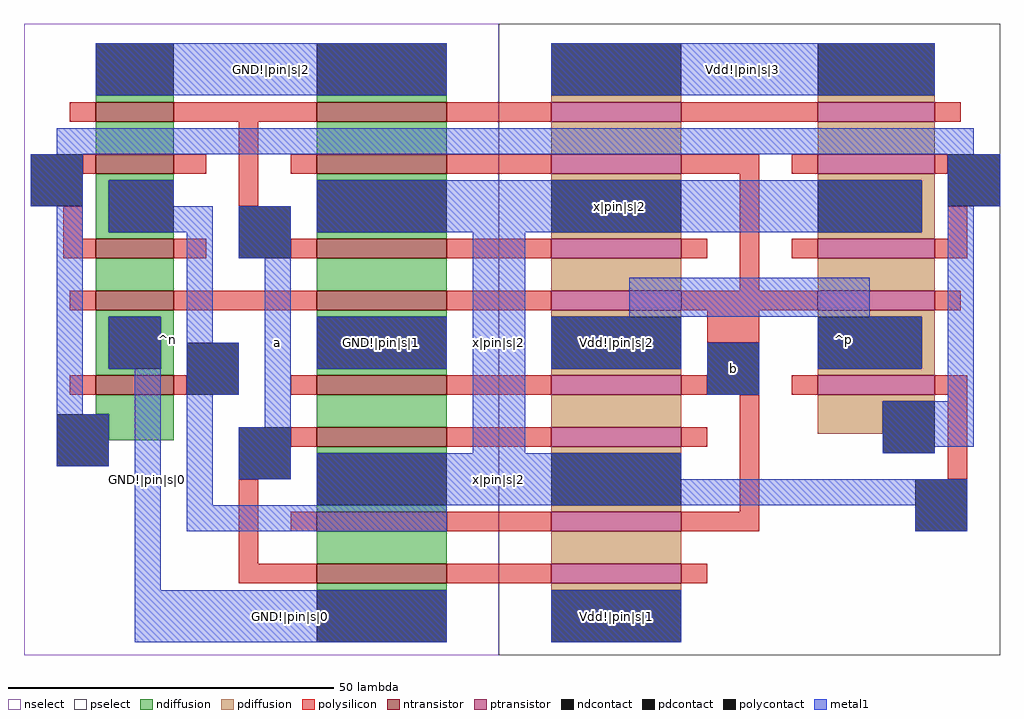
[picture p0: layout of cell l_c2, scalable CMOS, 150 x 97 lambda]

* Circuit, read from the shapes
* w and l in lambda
.subckt l_c2 GND!|pin|s|0 GND!|pin|s|1 GND!|pin|s|2 Vdd!|pin|s|1 Vdd!|pin|s|2 Vdd!|pin|s|3 a b x|pin|s|2
M1 GND!|pin|s|0 x|pin|s|2 n1 VSUBS nfet w=12 l=3
M2 n2 b GND!|pin|s|0 VSUBS nfet w=12 l=3
M3 x|pin|s|2 n1 n2 VSUBS nfet w=12 l=3
M4 n3 n1 x|pin|s|2 VSUBS nfet w=12 l=3
M5 GND!|pin|s|2 a n3 VSUBS nfet w=12 l=3
M6 n4 a GND!|pin|s|0 VSUBS nfet w=20 l=3
M7 x|pin|s|2 b n4 VSUBS nfet w=20 l=3
M8 n5 a x|pin|s|2 VSUBS nfet w=20 l=3
M9 GND!|pin|s|1 b n5 VSUBS nfet w=20 l=3
M10 n6 b GND!|pin|s|1 VSUBS nfet w=20 l=3
M11 x|pin|s|2 a n6 VSUBS nfet w=20 l=3
M12 n7 b x|pin|s|2 VSUBS nfet w=20 l=3
M13 GND!|pin|s|2 a n7 VSUBS nfet w=20 l=3
M14 n8 a Vdd!|pin|s|1 NWELL pfet w=20 l=3
M15 x|pin|s|2 b n8 NWELL pfet w=20 l=3
M16 n9 a x|pin|s|2 NWELL pfet w=20 l=3
M17 Vdd!|pin|s|2 b n9 NWELL pfet w=20 l=3
M18 n10 b Vdd!|pin|s|2 NWELL pfet w=20 l=3
M19 x|pin|s|2 a n10 NWELL pfet w=20 l=3
M20 n11 b x|pin|s|2 NWELL pfet w=20 l=3
M21 Vdd!|pin|s|3 a n11 NWELL pfet w=20 l=3
M22 Vdd!|pin|s|2 x|pin|s|2 n1 NWELL pfet w=18 l=3
M23 n12 b Vdd!|pin|s|2 NWELL pfet w=18 l=3
M24 x|pin|s|2 n1 n12 NWELL pfet w=18 l=3
M25 n13 n1 x|pin|s|2 NWELL pfet w=18 l=3
M26 Vdd!|pin|s|3 a n13 NWELL pfet w=18 l=3
.ends

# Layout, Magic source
magic
tech scmos
<< nselect >>
rect -73 -15 0 82
<< pselect >>
rect 0 -15 77 82
<< ndiffusion >>
rect -62 70 -50 71
rect -28 70 -8 71
rect -62 62 -50 67
rect -62 58 -50 59
rect -62 50 -60 58
rect -62 49 -50 50
rect -28 62 -8 67
rect -28 58 -8 59
rect -28 49 -8 50
rect -62 41 -50 46
rect -28 41 -8 46
rect -62 37 -50 38
rect -62 29 -60 37
rect -52 29 -50 37
rect -28 37 -8 38
rect -62 28 -50 29
rect -28 28 -8 29
rect -62 22 -50 25
rect -60 18 -50 22
rect -28 20 -8 25
rect -28 16 -8 17
rect -28 7 -8 8
rect -28 -1 -8 4
rect -28 -5 -8 -4
<< pdiffusion >>
rect 8 70 28 71
rect 49 70 67 71
rect 8 62 28 67
rect 49 62 67 67
rect 8 58 28 59
rect 8 49 28 50
rect 8 41 28 46
rect 49 58 67 59
rect 65 50 67 58
rect 49 49 67 50
rect 49 41 67 46
rect 8 37 28 38
rect 8 28 28 29
rect 49 37 67 38
rect 65 29 67 37
rect 49 28 67 29
rect 8 20 28 25
rect 8 16 28 17
rect 8 7 28 8
rect 49 24 67 25
rect 49 19 59 24
rect 8 -1 28 4
rect 8 -5 28 -4
<< ntransistor >>
rect -62 67 -50 70
rect -28 67 -8 70
rect -62 59 -50 62
rect -28 59 -8 62
rect -62 46 -50 49
rect -28 46 -8 49
rect -62 38 -50 41
rect -28 38 -8 41
rect -62 25 -50 28
rect -28 25 -8 28
rect -28 17 -8 20
rect -28 4 -8 7
rect -28 -4 -8 -1
<< ptransistor >>
rect 8 67 28 70
rect 49 67 67 70
rect 8 59 28 62
rect 49 59 67 62
rect 8 46 28 49
rect 49 46 67 49
rect 8 38 28 41
rect 49 38 67 41
rect 8 25 28 28
rect 49 25 67 28
rect 8 17 28 20
rect 8 4 28 7
rect 8 -4 28 -1
<< polysilicon >>
rect -66 67 -62 70
rect -50 67 -28 70
rect -8 67 8 70
rect 28 67 49 70
rect 67 67 71 70
rect -64 59 -62 62
rect -50 59 -45 62
rect -67 49 -64 54
rect -40 54 -37 67
rect -32 59 -28 62
rect -8 59 8 62
rect 28 59 40 62
rect 45 59 49 62
rect 67 59 69 62
rect -67 46 -62 49
rect -50 46 -45 49
rect -32 46 -28 49
rect -8 46 8 49
rect 28 46 32 49
rect 37 41 40 59
rect 69 49 72 54
rect 45 46 49 49
rect 67 46 72 49
rect -66 38 -62 41
rect -50 38 -28 41
rect -8 38 8 41
rect 28 38 49 41
rect 67 38 71 41
rect -66 25 -62 28
rect -50 25 -48 28
rect 32 33 40 38
rect -32 25 -28 28
rect -8 25 8 28
rect 28 25 32 28
rect 45 25 49 28
rect 67 25 72 28
rect -32 17 -28 20
rect -8 17 8 20
rect 28 17 32 20
rect -40 -1 -37 12
rect 37 7 40 25
rect 69 12 72 25
rect -32 4 -28 7
rect -8 4 8 7
rect 28 4 40 7
rect -40 -4 -28 -1
rect -8 -4 8 -1
rect 28 -4 32 -1
<< ndcontact >>
rect -62 71 -50 79
rect -28 71 -8 79
rect -60 50 -50 58
rect -28 50 -8 58
rect -60 29 -52 37
rect -28 29 -8 37
rect -68 14 -60 22
rect -28 8 -8 16
rect -28 -13 -8 -5
<< pdcontact >>
rect 8 71 28 79
rect 49 71 67 79
rect 8 50 28 58
rect 49 50 65 58
rect 8 29 28 37
rect 49 29 65 37
rect 8 8 28 16
rect 59 16 67 24
rect 8 -13 28 -5
<< polycontact >>
rect -72 54 -64 62
rect -40 46 -32 54
rect 69 54 77 62
rect -48 25 -40 33
rect 32 25 40 33
rect -40 12 -32 20
rect 64 4 72 12
<< metal1 >>
rect -62 71 -8 79
rect 8 71 67 79
rect -68 62 73 66
rect -72 54 -64 62
rect -68 22 -64 54
rect -60 54 -50 58
rect -60 50 -44 54
rect -60 29 -52 37
rect -68 14 -60 22
rect -56 -5 -52 29
rect -48 33 -44 50
rect -40 46 -32 54
rect -28 50 65 58
rect 69 54 77 62
rect -48 25 -40 33
rect -48 8 -44 25
rect -36 20 -32 46
rect -28 29 -8 37
rect -40 12 -32 20
rect -4 16 4 50
rect 20 37 57 43
rect 8 29 28 37
rect 32 25 40 33
rect 49 29 65 37
rect 69 24 73 54
rect 59 17 73 24
rect 59 16 67 17
rect -28 12 28 16
rect -28 8 72 12
rect -48 4 -8 8
rect 64 4 72 8
rect -56 -13 -8 -5
rect 8 -13 28 -5
<< labels >>
rlabel metal1 -36 12 -32 54 1 a
rlabel metal1 32 25 40 33 1 b
rlabel space -74 -15 -28 82 7 ^n
rlabel space 28 -15 78 82 3 ^p
rlabel metal1 -28 8 28 16 1 x|pin|s|2
rlabel metal1 -4 8 4 58 1 x|pin|s|2
rlabel metal1 -28 50 65 58 1 x|pin|s|2
rlabel metal1 8 -13 28 -5 1 Vdd!|pin|s|1
rlabel metal1 -62 71 -8 79 1 GND!|pin|s|2
rlabel metal1 -28 29 -8 37 1 GND!|pin|s|1
rlabel metal1 8 29 28 37 1 Vdd!|pin|s|2
rlabel metal1 49 29 65 37 1 Vdd!|pin|s|2
rlabel metal1 8 71 67 79 1 Vdd!|pin|s|3
rlabel metal1 -56 -13 -52 37 1 GND!|pin|s|0
rlabel metal1 -56 -13 -8 -5 1 GND!|pin|s|0
<< end >>
